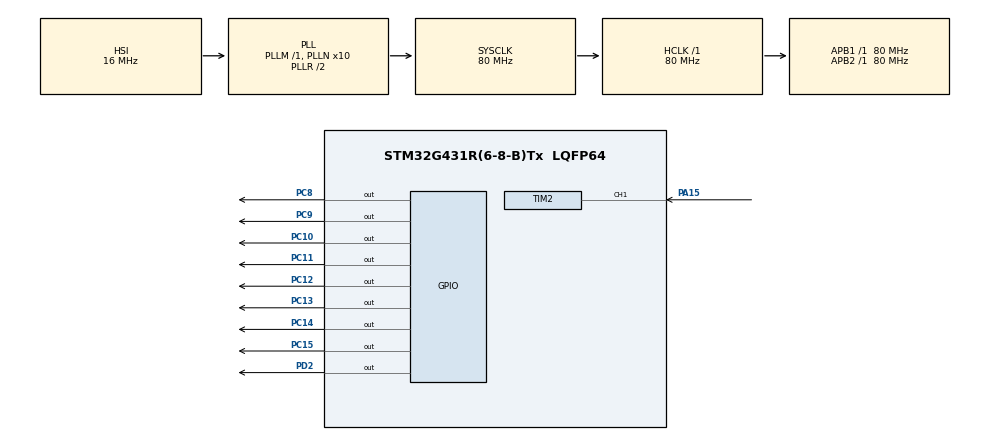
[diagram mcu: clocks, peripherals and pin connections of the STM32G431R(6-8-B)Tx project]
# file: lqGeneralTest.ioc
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Dma.Request0=TIM2_CH1
Dma.TIM2_CH1.0.Direction=DMA_PERIPH_TO_MEMORY
Dma.TIM2_CH1.0.EventEnable=DISABLE
Dma.TIM2_CH1.0.Instance=DMA1_Channel1
Dma.TIM2_CH1.0.MemDataAlignment=DMA_MDATAALIGN_WORD
Dma.TIM2_CH1.0.MemInc=DMA_MINC_ENABLE
Dma.TIM2_CH1.0.Mode=DMA_CIRCULAR
Dma.TIM2_CH1.0.PeriphDataAlignment=DMA_PDATAALIGN_WORD
Dma.TIM2_CH1.0.PeriphInc=DMA_PINC_DISABLE
Dma.TIM2_CH1.0.Polarity=HAL_DMAMUX_REQ_GEN_RISING
Dma.TIM2_CH1.0.Priority=DMA_PRIORITY_LOW
Dma.TIM2_CH1.0.RequestNumber=1
Dma.TIM2_CH1.0.SignalID=NONE
Dma.TIM2_CH1.0.SyncEnable=DISABLE
Dma.TIM2_CH1.0.SyncPolarity=HAL_DMAMUX_SYNC_NO_EVENT
Dma.TIM2_CH1.0.SyncRequestNumber=1
Dma.TIM2_CH1.0.SyncSignalID=NONE
Mcu.Family=STM32G4
Mcu.Name=STM32G431R(6-8-B)Tx
Mcu.Package=LQFP64
NVIC.DMA1_Channel1_IRQn=true\:0\:0\:false\:false\:true\:false\:true\:true
NVIC.PriorityGroup=NVIC_PRIORITYGROUP_4
NVIC.TIM2_IRQn=true\:0\:0\:false\:false\:true\:true\:true\:true
PA13.Mode=Serial_Wire
PA13.Signal=SYS_JTMS-SWDIO
PA14.Mode=Serial_Wire
PA14.Signal=SYS_JTCK-SWCLK
PA15.Signal=S_TIM2_CH1
PC10.GPIO_ModeDefaultOutputPP=GPIO_MODE_OUTPUT_PP
PC10.GPIO_PuPd=GPIO_PULLUP
PC10.GPIO_Speed=GPIO_SPEED_FREQ_LOW
PC10.PinState=GPIO_PIN_SET
PC10.Signal=GPIO_Output
PC11.GPIO_ModeDefaultOutputPP=GPIO_MODE_OUTPUT_PP
PC11.GPIO_PuPd=GPIO_PULLUP
PC11.GPIO_Speed=GPIO_SPEED_FREQ_LOW
PC11.PinState=GPIO_PIN_SET
PC11.Signal=GPIO_Output
PC12.GPIO_ModeDefaultOutputPP=GPIO_MODE_OUTPUT_PP
PC12.GPIO_PuPd=GPIO_PULLUP
PC12.GPIO_Speed=GPIO_SPEED_FREQ_LOW
PC12.PinState=GPIO_PIN_SET
PC12.Signal=GPIO_Output
PC13.GPIO_ModeDefaultOutputPP=GPIO_MODE_OUTPUT_PP
PC13.GPIO_PuPd=GPIO_PULLUP
PC13.GPIO_Speed=GPIO_SPEED_FREQ_LOW
PC13.PinState=GPIO_PIN_SET
PC13.Signal=GPIO_Output
PC14-OSC32_IN.GPIO_ModeDefaultOutputPP=GPIO_MODE_OUTPUT_PP
PC14-OSC32_IN.GPIO_PuPd=GPIO_PULLUP
PC14-OSC32_IN.GPIO_Speed=GPIO_SPEED_FREQ_LOW
PC14-OSC32_IN.PinState=GPIO_PIN_SET
PC14-OSC32_IN.Signal=GPIO_Output
PC15-OSC32_OUT.GPIO_ModeDefaultOutputPP=GPIO_MODE_OUTPUT_PP
PC15-OSC32_OUT.GPIO_PuPd=GPIO_PULLUP
PC15-OSC32_OUT.GPIO_Speed=GPIO_SPEED_FREQ_LOW
PC15-OSC32_OUT.PinState=GPIO_PIN_SET
PC15-OSC32_OUT.Signal=GPIO_Output
PC8.GPIO_ModeDefaultOutputPP=GPIO_MODE_OUTPUT_PP
PC8.GPIO_PuPd=GPIO_PULLUP
PC8.GPIO_Speed=GPIO_SPEED_FREQ_LOW
PC8.PinState=GPIO_PIN_SET
PC8.Signal=GPIO_Output
PC9.GPIO_ModeDefaultOutputPP=GPIO_MODE_OUTPUT_PP
PC9.GPIO_PuPd=GPIO_PULLUP
PC9.GPIO_Speed=GPIO_SPEED_FREQ_LOW
PC9.PinState=GPIO_PIN_SET
PC9.Signal=GPIO_Output
PD2.GPIO_PuPd=GPIO_PULLDOWN
PD2.Signal=GPIO_Output
PF0-OSC_IN.Mode=HSE-External-Oscillator
PF0-OSC_IN.Signal=RCC_OSC_IN
PF1-OSC_OUT.Mode=HSE-External-Oscillator
PF1-OSC_OUT.Signal=RCC_OSC_OUT
ProjectManager.HeapSize=0x200
ProjectManager.StackSize=0x400
ProjectManager.TargetToolchain=MDK-ARM V5
RCC.ADC12Freq_Value=80000000
RCC.AHBFreq_Value=80000000
RCC.APB1Freq_Value=80000000
RCC.APB1TimFreq_Value=80000000
RCC.APB2Freq_Value=80000000
RCC.APB2TimFreq_Value=80000000
RCC.CortexFreq_Value=80000000
RCC.EXTERNAL_CLOCK_VALUE=12288000
RCC.HCLKFreq_Value=80000000
RCC.HSE_VALUE=8000000
RCC.HSI48_VALUE=48000000
RCC.HSI_VALUE=16000000
RCC.LSE_VALUE=32768
RCC.PLLN=10
RCC.SYSCLKFreq_VALUE=80000000
RCC.SYSCLKSource=RCC_SYSCLKSOURCE_PLLCLK
RCC.USBFreq_Value=80000000
RCC.VCOOutputFreq_Value=160000000
SH.S_TIM2_CH1.0=TIM2_CH1,TriggerSource_TI1FP1
SH.S_TIM2_CH1.1=TIM2_CH1,Input_Capture1_from_TI1
TIM2.Channel-Input_Capture1_from_TI1=TIM_CHANNEL_1
TIM2.Prescaler=0
VP_SYS_VS_DBSignals.Mode=DisableDeadBatterySignals
VP_TIM2_VS_ClockSourceINT.Mode=Internal
VP_TIM2_VS_ControllerModeReset.Mode=Reset Mode
board=custom

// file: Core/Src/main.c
/* USER CODE BEGIN Header */
/**
  ******************************************************************************
  * @file           : main.c
  * @brief          : Main program body
  ******************************************************************************
  * @attention
  *
  * Copyright (c) 2023 STMicroelectronics.
  * All rights reserved.
  *
  * This software is licensed under terms that can be found in the LICENSE file
  * in the root directory of this software component.
  * If no LICENSE file comes with this software, it is provided AS-IS.
  *
  ******************************************************************************
  */
/* USER CODE END Header */
#include "main.h"
#include "dma.h"
#include "tim.h"
#include "gpio.h"

/* USER CODE BEGIN Includes */
#include <stdbool.h>
/* USER CODE END Includes */

/* USER CODE BEGIN PTD */
typedef struct {
	uint64_t 	trace;
	bool		actif;
	void		(*trig)(void);
} Key;
/* USER CODE END PTD */

/* USER CODE BEGIN PD */
//#define ld(x) (*(ledp - x))

#define lds(x ,s) s ? (leds |= (s << (x - 1))) : (leds &= (s << (x - 1)))
//#define lds(x, s) \
//	ld(x) = s;

#define ldp() \
	HAL_GPIO_WritePin(GPIOC, leds << 8, 0); \
	HAL_GPIO_WritePin(GPIOC, ~leds << 8, 1); \
	HAL_GPIO_WritePin(GPIOD, 0x0004, 0); \
	HAL_GPIO_WritePin(GPIOD, 0x0004, 1)
#define ldsp(x, s) \
	lds(x, s); ldp()
#define ldtp(x) \
	ldsp(x, ~(leds & (0x0001 << (x - 1))))

/* USER CODE END PD */

/* USER CODE BEGIN PV */
uint8_t 	leds = 0;
uint32_t icVal, freq;
Key keys[5];
/* USER CODE END PV */

void SystemClock_Config(void);

int main(void)
{
  /* USER CODE BEGIN 1 */
	for(register unsigned int i = 1; i < 5; i++) {
		keys[i].trace 	= 0xFFFFFFFFFFFFFFFF;
		keys[i].actif	= false;
	}

	leds |= 1;

  /* USER CODE END 1 */

  /* MCU Configuration--------------------------------------------------------*/

  /* Reset of all peripherals, Initializes the Flash interface and the Systick. */
  HAL_Init();

  /* Configure the system clock */
  SystemClock_Config();

  /* Initialize all configured peripherals */
  MX_GPIO_Init();
  MX_DMA_Init();
  MX_TIM2_Init();
  /* USER CODE BEGIN 2 */

//	HAL_GPIO_WritePin(GPIOC, GPIO_PIN_All, GPIO_PIN_SET);
//	HAL_GPIO_WritePin(GPIOD, GPIO_PIN_2, GPIO_PIN_RESET);
//	HAL_GPIO_WritePin(GPIOD, GPIO_PIN_2, GPIO_PIN_SET);

	ldp();
	ldsp(2, 1);
	ldsp(5, 1);
//	HAL_GPIO_WritePin(GPIOC, 0x0100, 0);
//	HAL_GPIO_WritePin(GPIOC, 0xFE00, 1);
//	HAL_GPIO_WritePin(GPIOD, 0x0002, 1);
//	HAL_GPIO_WritePin(GPIOD, 0x0002, 0);

	HAL_TIM_IC_Start_DMA(&htim2, TIM_CHANNEL_1, &icVal, 1);

  /* USER CODE END 2 */

  /* Infinite loop */
  /* USER CODE BEGIN WHILE */
  while (1)
  {
	  freq = 80000000 / icVal;
	  HAL_Delay(100);
	  ldtp(7);
    /* USER CODE END WHILE */

  }
}

void SystemClock_Config(void)
{
  RCC_OscInitTypeDef RCC_OscInitStruct = {0};
  RCC_ClkInitTypeDef RCC_ClkInitStruct = {0};

  /** Configure the main internal regulator output voltage
  */
  HAL_PWREx_ControlVoltageScaling(PWR_REGULATOR_VOLTAGE_SCALE1);

  /** Initializes the RCC Oscillators according to the specified parameters
  * in the RCC_OscInitTypeDef structure.
  */
  RCC_OscInitStruct.OscillatorType = RCC_OSCILLATORTYPE_HSI;
  RCC_OscInitStruct.HSIState = RCC_HSI_ON;
  RCC_OscInitStruct.HSICalibrationValue = RCC_HSICALIBRATION_DEFAULT;
  RCC_OscInitStruct.PLL.PLLState = RCC_PLL_ON;
  RCC_OscInitStruct.PLL.PLLSource = RCC_PLLSOURCE_HSI;
  RCC_OscInitStruct.PLL.PLLM = RCC_PLLM_DIV1;
  RCC_OscInitStruct.PLL.PLLN = 10;
  RCC_OscInitStruct.PLL.PLLP = RCC_PLLP_DIV2;
  RCC_OscInitStruct.PLL.PLLQ = RCC_PLLQ_DIV2;
  RCC_OscInitStruct.PLL.PLLR = RCC_PLLR_DIV2;
  if (HAL_RCC_OscConfig(&RCC_OscInitStruct) != HAL_OK)
  {
    Error_Handler();
  }

  /** Initializes the CPU, AHB and APB buses clocks
  */
  RCC_ClkInitStruct.ClockType = RCC_CLOCKTYPE_HCLK|RCC_CLOCKTYPE_SYSCLK
                              |RCC_CLOCKTYPE_PCLK1|RCC_CLOCKTYPE_PCLK2;
  RCC_ClkInitStruct.SYSCLKSource = RCC_SYSCLKSOURCE_PLLCLK;
  RCC_ClkInitStruct.AHBCLKDivider = RCC_SYSCLK_DIV1;
  RCC_ClkInitStruct.APB1CLKDivider = RCC_HCLK_DIV1;
  RCC_ClkInitStruct.APB2CLKDivider = RCC_HCLK_DIV1;

  if (HAL_RCC_ClockConfig(&RCC_ClkInitStruct, FLASH_LATENCY_2) != HAL_OK)
  {
    Error_Handler();
  }
}

/* USER CODE BEGIN 4 */

void HAL_TIM_IC_CaptureCallback(TIM_HandleTypeDef *htim) {
	if(htim->Instance == TIM2) {
		freq = 80000000 / icVal;
	}
}

/* USER CODE END 4 */

void Error_Handler(void)
{
  __disable_irq();
  while (1)
  {
  }
}
